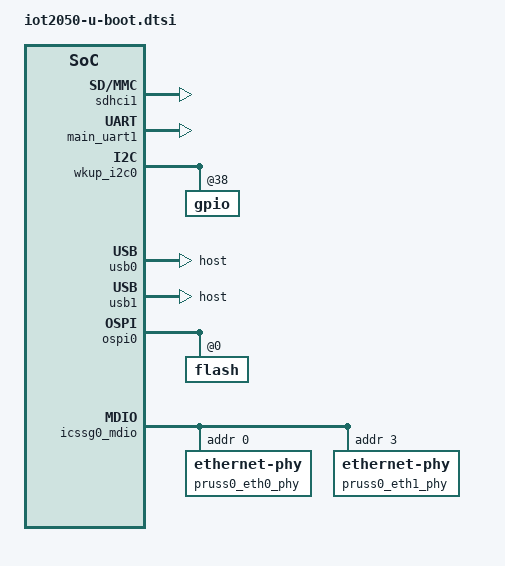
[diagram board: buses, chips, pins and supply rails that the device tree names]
// SPDX-License-Identifier: GPL-2.0
/*
 * (C) Copyright 2019 Siemens AG
 */

#include <dt-bindings/pinctrl/k3.h>
#include <dt-bindings/dma/k3-udma.h>
#include <dt-bindings/net/ti-dp83867.h>

/ {
	chosen {
		stdout-path = "serial3:115200n8";
	};

	aliases {
		serial3 = &main_uart1;
		ethernet0 = &pruss0_eth;
	};

	/* Dual Ethernet application node on PRU-ICSSG0 */
	pruss0_eth: pruss0_eth {
		compatible = "ti,am654-icssg-prueth";
		pinctrl-names = "default";
		pinctrl-0 = <&icssg0_rgmii_pins_default>;
		sram = <&icssg0_sram>;
		clocks = <&k3_clks 62 3>;
		clock-names = "mdio_fck";

		prus = <&pru0_0>, <&rtu0_0>, <&pru0_1>, <&rtu0_1>;
		firmware-name = "ti-pruss/am65x-pru0-prueth-fw.elf",
		                "ti-pruss/am65x-rtu0-prueth-fw.elf",
		                "ti-pruss/am65x-pru1-prueth-fw.elf",
		                "ti-pruss/am65x-rtu1-prueth-fw.elf";
		mii-g-rt = <&icssg0_mii_g_rt>;
		dma-coherent;
		dmas = <&mcu_udmap &icssg0 0 UDMA_DIR_TX>, /* egress slice 0 */
		       <&mcu_udmap &icssg0 1 UDMA_DIR_TX>, /* egress slice 0 */
		       <&mcu_udmap &icssg0 2 UDMA_DIR_TX>, /* egress slice 0 */
		       <&mcu_udmap &icssg0 3 UDMA_DIR_TX>, /* egress slice 0 */
		       <&mcu_udmap &icssg0 4 UDMA_DIR_TX>, /* egress slice 1 */
		       <&mcu_udmap &icssg0 5 UDMA_DIR_TX>, /* egress slice 1 */
		       <&mcu_udmap &icssg0 6 UDMA_DIR_TX>, /* egress slice 1 */
		       <&mcu_udmap &icssg0 7 UDMA_DIR_TX>, /* egress slice 1 */
		       <&mcu_udmap &icssg0 0 UDMA_DIR_RX>, /* ingress slice 0 */
		       <&mcu_udmap &icssg0 1 UDMA_DIR_RX>, /* ingress slice 1 */
		       <&mcu_udmap &icssg0 2 UDMA_DIR_RX>, /* mgmnt rsp slice 0 */
		       <&mcu_udmap &icssg0 3 UDMA_DIR_RX>; /* mgmnt rsp slice 1 */
		dma-names = "tx0-0", "tx0-1", "tx0-2", "tx0-3",
		            "tx1-0", "tx1-1", "tx1-2", "tx1-3",
		            "rx0", "rx1",
		            "rxmgm0", "rxmgm1";

		pruss0_emac0: ethernet-mii0 {
			phy-handle = <&pruss0_eth0_phy>;
			phy-mode = "rgmii-rxid";
			syscon-rgmii-delay = <&scm_conf 0x4100>;
			/* Filled in by bootloader */
			local-mac-address = [00 00 00 00 00 00];
		};

/*
 * Commenting out the second mii interface as the framework
 * supports one interface in a single probe
 * So either mii1 or mii2 can be used. In case mii1 is needed
 * uncomment mii1 and comment out mii0
		pruss0_emac1: ethernet-mii1 {
		    phy-handle = <&pruss0_eth1_phy>;
		    phy-mode = "rgmii-rxid";
		    syscon-rgmii-delay = <&scm_conf 0x4104>;
		    local-mac-address = [00 00 00 00 00 00];
		};
*/
	};
};

&cbass_main{
	u-boot,dm-spl;

	sdhci1: sdhci@04FA0000 {
		compatible = "ti,am654-sdhci-5.1";
		reg = <0x0 0x4FA0000 0x0 0x1000>,
		      <0x0 0x4FB0000 0x0 0x400>;
		clocks = <&k3_clks 48 0>, <&k3_clks 48 1>;
		clock-names = "clk_ahb", "clk_xin";
		power-domains = <&k3_pds 48 TI_SCI_PD_SHARED>;
		max-frequency = <25000000>;
		ti,otap-del-sel = <0x2>;
		ti,trm-icp = <0x8>;
	};

};

&cbass_mcu {
	u-boot,dm-spl;

	navss_mcu: navss-mcu {
		compatible = "simple-bus";
		#address-cells = <2>;
		#size-cells = <2>;
		ranges;

		ti,sci-dev-id = <119>;
		u-boot,dm-spl;

		mcu_ringacc: ringacc@2b800000 {
			compatible = "ti,am654-navss-ringacc";
			reg =	<0x0 0x2b800000 0x0 0x400000>,
				<0x0 0x2b000000 0x0 0x400000>,
				<0x0 0x28590000 0x0 0x100>,
				<0x0 0x2a500000 0x0 0x40000>;
			reg-names = "rt", "fifos",
				    "proxy_gcfg", "proxy_target";
			ti,num-rings = <286>;
			ti,sci-rm-range-gp-rings = <0x2>; /* GP ring range */
			ti,dma-ring-reset-quirk;
			ti,sci = <&dmsc>;
			ti,sci-dev-id = <195>;
			u-boot,dm-spl;

		};

		mcu_udmap: udmap@285c0000 {
			compatible = "ti,k3-navss-udmap";
			reg =	<0x0 0x285c0000 0x0 0x100>,
				<0x0 0x2a800000 0x0 0x40000>,
				<0x0 0x2aa00000 0x0 0x40000>;
			reg-names = "gcfg", "rchanrt", "tchanrt";
			#dma-cells = <3>;

			ti,ringacc = <&mcu_ringacc>;
			ti,psil-base = <0x6000>;

			ti,sci = <&dmsc>;
			ti,sci-dev-id = <194>;

			ti,sci-rm-range-tchan = <0x1>, /* TX_HCHAN */
						<0x2>; /* TX_CHAN */
			ti,sci-rm-range-rchan = <0x3>, /* RX_HCHAN */
						<0x4>; /* RX_CHAN */
			ti,sci-rm-range-rflow = <0x5>; /* GP RFLOW */
			dma-coherent;
			u-boot,dm-spl;

		};
	};

	mcu_conf: scm_conf@40f00000 {
		compatible = "syscon";
		reg = <0x0 0x40f00000 0x0 0x20000>;
	};
};

&cbass_wakeup {
	u-boot,dm-spl;
	wkup_gpio0: wkup_gpio0@42110000 {
		compatible = "ti,k2g-gpio", "ti,keystone-gpio";
		reg = <0x42110000 0x100>;
		gpio-controller;
		#gpio-cells = <2>;
		ti,ngpio = <56>;
		ti,davinci-gpio-unbanked = <0>;
		clocks = <&k3_clks 59 0>;
		clock-names = "gpio";
		u-boot,dm-spl;
	};
};

&secure_proxy_main {
	u-boot,dm-spl;
};

&dmsc {
	u-boot,dm-spl;
	k3_sysreset: sysreset-controller {
		compatible = "ti,sci-sysreset";
		u-boot,dm-spl;
	};
};

&k3_pds {
	u-boot,dm-spl;
};

&k3_clks {
	u-boot,dm-spl;
};

&k3_reset {
	u-boot,dm-spl;
};

&wkup_pmx0 {
	u-boot,dm-spl;

	mcu_fss0_ospi0_pins_default {
		u-boot,dm-spl;
	};

	wkup_i2c0_pins_default {
		u-boot,dm-spl;
	};
};

&wkup_pmx0 {
	u-boot,dm-spl;

	mcu_fss0_ospi0_pins_default {
		u-boot,dm-spl;
	};
};

&main_pmx0 {
	u-boot,dm-spl;
	main_uart1_pins_default: main_uart1_pins_default {
		pinctrl-single,pins = <
			AM65X_IOPAD(0x0174, PIN_INPUT, 6)	/* (AE23) UART1_RXD */
			AM65X_IOPAD(0x014c, PIN_OUTPUT, 6)	/* (AD23) UART1_TXD */
			AM65X_IOPAD(0x0178, PIN_INPUT, 6)	/* (AD22) UART1_CTSn */
			AM65X_IOPAD(0x017c, PIN_OUTPUT, 6)	/* (AC21) UART1_RTSn */
		>;
        u-boot,dm-spl;
    };

	main_mmc1_pins_default: main_mmc1_pins_default {
		pinctrl-single,pins = <
			AM65X_IOPAD(0x02d4, PIN_INPUT_PULLDOWN, 0)	/* (C27) MMC1_CLK */
			AM65X_IOPAD(0x02d8, PIN_INPUT_PULLUP, 0)	/* (C28) MMC1_CMD */
			AM65X_IOPAD(0x02d0, PIN_INPUT_PULLUP, 0)	/* (D28) MMC1_DAT0 */
			AM65X_IOPAD(0x02cc, PIN_INPUT_PULLUP, 0)	/* (E27) MMC1_DAT1 */
			AM65X_IOPAD(0x02c8, PIN_INPUT_PULLUP, 0)	/* (D26) MMC1_DAT2 */
			AM65X_IOPAD(0x02c4, PIN_INPUT_PULLUP, 0)	/* (D27) MMC1_DAT3 */
			AM65X_IOPAD(0x02dc, PIN_INPUT_PULLUP, 0)	/* (B24) MMC1_SDCD */
			AM65X_IOPAD(0x02e0, PIN_INPUT, 0)			/* (C24) MMC1_SDWP */
		>;
		u-boot,dm-spl;
	};

	icssg0_rgmii_pins_default: icssg0_rgmii_pins_default {
		pinctrl-single,pins = <
			AM65X_IOPAD(0x0244, PIN_INPUT, 2) /* (AB28) PRG0_PRU1_GPO0.PRG0_RGMII2_RD0 */
			AM65X_IOPAD(0x0248, PIN_INPUT, 2) /* (AC28) PRG0_PRU1_GPO1.PRG0_RGMII2_RD1 */
			AM65X_IOPAD(0x024c, PIN_INPUT, 2) /* (AC27) PRG0_PRU1_GPO2.PRG0_RGMII2_RD2 */
			AM65X_IOPAD(0x0250, PIN_INPUT, 2) /* (AB26) PRG0_PRU1_GPO3.PRG0_RGMII2_RD3 */
			AM65X_IOPAD(0x0274, PIN_OUTPUT, 2) /* (AC25) PRG0_PRU1_GPO12.PRG0_RGMII2_TD0 */
			AM65X_IOPAD(0x0278, PIN_OUTPUT, 2) /* (AD25) PRG0_PRU1_GPO13.PRG0_RGMII2_TD1 */
			AM65X_IOPAD(0x027c, PIN_OUTPUT, 2) /* (AD24) PRG0_PRU1_GPO14.PRG0_RGMII2_TD2 */
			AM65X_IOPAD(0x0280, PIN_OUTPUT, 2) /* (AE27) PRG0_PRU1_GPO15.PRG0_RGMII2_TD3 */
			AM65X_IOPAD(0x0284, PIN_INPUT, 2) /* (AC24) PRG0_PRU1_GPO16.PRG0_RGMII2_TXC */
			AM65X_IOPAD(0x0270, PIN_OUTPUT, 2) /* (AB24) PRG0_PRU1_GPO11.PRG0_RGMII2_TX_CTL */
			AM65X_IOPAD(0x025c, PIN_INPUT, 2) /* (AB27) PRG0_PRU1_GPO6.PRG0_RGMII2_RXC */
			AM65X_IOPAD(0x0254, PIN_INPUT, 2) /* (AA25) PRG0_PRU1_GPO4.PRG0_RGMII2_RX_CTL */
			AM65X_IOPAD(0x01f4, PIN_INPUT, 2) /* (V24) PRG0_PRU0_GPO0.PRG0_RGMII1_RD0 */
			AM65X_IOPAD(0x01f8, PIN_INPUT, 2) /* (W25) PRG0_PRU0_GPO1.PRG0_RGMII1_RD1 */
			AM65X_IOPAD(0x01fc, PIN_INPUT, 2) /* (W24) PRG0_PRU0_GPO2.PRG0_RGMII1_RD2 */
			AM65X_IOPAD(0x0200, PIN_INPUT, 2) /* (AA27) PRG0_PRU0_GPO3.PRG0_RGMII1_RD3 */
			AM65X_IOPAD(0x0224, PIN_OUTPUT, 2) /* (AD27) PRG0_PRU0_GPO12.PRG0_RGMII1_TD0 */
			AM65X_IOPAD(0x0228, PIN_OUTPUT, 2) /* (AC26) PRG0_PRU0_GPO13.PRG0_RGMII1_TD1 */
			AM65X_IOPAD(0x022c, PIN_OUTPUT, 2) /* (AD26) PRG0_PRU0_GPO14.PRG0_RGMII1_TD2 */
			AM65X_IOPAD(0x0230, PIN_OUTPUT, 2) /* (AA24) PRG0_PRU0_GPO15.PRG0_RGMII1_TD3 */
			AM65X_IOPAD(0x0234, PIN_INPUT, 2) /* (AD28) PRG0_PRU0_GPO16.PRG0_RGMII1_TXC */
			AM65X_IOPAD(0x0220, PIN_OUTPUT, 2) /* (AB25) PRG0_PRU0_GPO11.PRG0_RGMII1_TX_CTL */
			AM65X_IOPAD(0x020c, PIN_INPUT, 2) /* (Y25) PRG0_PRU0_GPO6.PRG0_RGMII1_RXC */
			AM65X_IOPAD(0x0204, PIN_INPUT, 2) /* (Y24) PRG0_PRU0_GPO4.PRG0_RGMII1_RX_CTL */
			/* HACK As there is no driver for mdio */
			AM65X_IOPAD(0x0294, PIN_INPUT , 0) /* (AE26) PRG0_MDIO0_MDIO */
			AM65X_IOPAD(0x0298, PIN_OUTPUT , 0) /* (AE28) PRG0_MDIO0_MDC */
		>;
	};

	icssg0_mdio_pins_default: icssg0_mdio_pins_default {
		pinctrl-single,pins = <
			AM65X_IOPAD(0x0294, PIN_INPUT, 0) /* (AE26) PRG0_MDIO0_MDIO */
			AM65X_IOPAD(0x0298, PIN_OUTPUT, 0) /* (AE28) PRG0_MDIO0_MDC */
		>;
	};
};

&main_pmx1 {
	u-boot,dm-spl;
};

&main_uart1 {
	u-boot,dm-spl;
	pinctrl-names = "default";
	pinctrl-0 = <&main_uart1_pins_default>;
	status = "okay";
};

&sdhci0 {
	u-boot,dm-spl;
};

&sdhci1 {
	u-boot,dm-spl;
	status = "okay";
	pinctrl-names = "default";
	pinctrl-0 = <&main_mmc1_pins_default>;
	sdhci-caps-mask = <0x7 0x0>;
	ti,driver-strength-ohm = <50>;
};

&wkup_i2c0 {
	u-boot,dm-spl;
	gpio@38 {
		u-boot,dm-spl;
	};
};

&usb0 {
	dr_mode = "host";
};

&usb1 {
	dr_mode = "host";
};

&fss {
	u-boot,dm-spl;
};

&ospi0 {
	u-boot,dm-spl;

	 flash@0{
		u-boot,dm-spl;
	};
};

&msmc_ram {
	icssg0_sram: icssg0-sram@40000 {
		reg = <0x40000 0x20000>;
	};
	icssg2_sram: icssg2-sram@60000 {
		reg = <0x60000 0x10000>;
	};
};

&icssg0_mdio {
	status = "okay";
	pinctrl-names = "default";
	pinctrl-0 = <&icssg0_mdio_pins_default>;
	#address-cells = <1>;
	#size-cells = <0>;

	pruss0_eth0_phy: ethernet-phy@0 {
		reg = <0>;
		ti,rx-internal-delay = <DP83867_RGMIIDCTL_2_00_NS>;
		ti,fifo-depth = <DP83867_PHYCR_FIFO_DEPTH_4_B_NIB>;
	};

	pruss0_eth1_phy: ethernet-phy@3 {
		reg = <3>;
		ti,rx-internal-delay = <DP83867_RGMIIDCTL_2_00_NS>;
		ti,fifo-depth = <DP83867_PHYCR_FIFO_DEPTH_4_B_NIB>;
	};
};
